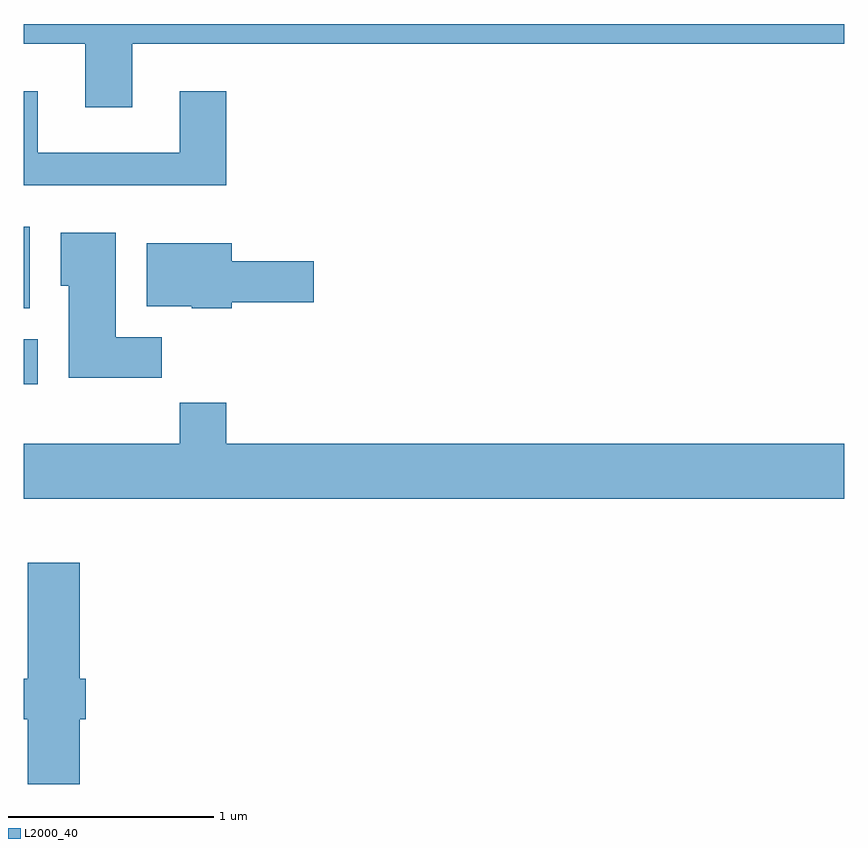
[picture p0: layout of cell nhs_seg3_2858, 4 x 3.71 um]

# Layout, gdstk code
import gdstk
lib = gdstk.Library(unit=1e-6, precision=1e-09)
def R(c, l, rs):  # rectangles x0, y0, x1, y1
    for r in rs: c.add(gdstk.rectangle(r[:2], r[2:], *l))
def P(c, l, *ps):  # polygons
    for p in ps: c.add(gdstk.Polygon(p, *l))
L2000_40 = (2000, 40)

nhs_seg3_2858 = lib.new_cell('nhs_seg3_2858')
R(nhs_seg3_2858, L2000_40, [(269.611,1122.136,269.679,1122.354), (269.611,1122.506,269.639,1122.904)])
P(nhs_seg3_2858, L2000_40, [(270.139,1123.796),(273.611,1123.796),(273.611,1123.892),(269.611,1123.892),(269.611,1123.796),(269.911,1123.796),(269.911,1123.486),(270.139,1123.486)],
  [(270.599,1123.564),(270.371,1123.564),(270.371,1123.264),(269.679,1123.264),(269.679,1123.564),(269.611,1123.564),(269.611,1123.106),(270.599,1123.106)],
  [(270.284,1122.364),(270.059,1122.364),(270.059,1122.874),(269.791,1122.874),(269.791,1122.616),(269.831,1122.616),(269.831,1122.166),(270.284,1122.166)],
  [(270.624,1122.536),(271.024,1122.536),(271.024,1122.734),(270.624,1122.734),(270.624,1122.824),(270.211,1122.824),(270.211,1122.516),(270.43,1122.516),(270.43,1122.506),(270.624,1122.506)],
  [(273.611,1121.844),(270.599,1121.844),(270.599,1122.044),(270.371,1122.044),(270.371,1121.844),(269.611,1121.844),(269.611,1121.576),(273.611,1121.576)],
  [(269.884,1120.501),(269.914,1120.501),(269.914,1120.699),(269.884,1120.699),(269.884,1121.264),(269.631,1121.264),(269.631,1120.699),(269.611,1120.699),(269.611,1120.501),(269.631,1120.501),(269.631,1120.186),(269.884,1120.186)])

lib.write_gds('nhs_seg3_2858.gds')
